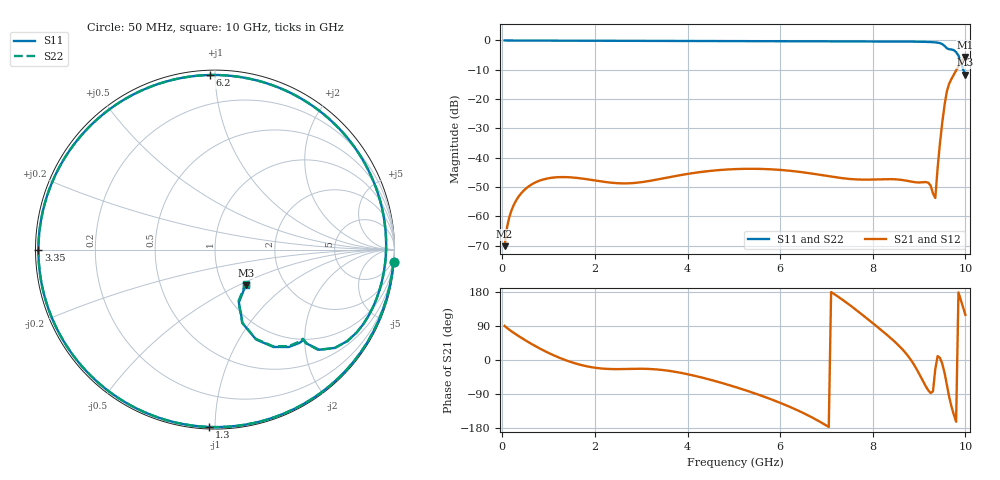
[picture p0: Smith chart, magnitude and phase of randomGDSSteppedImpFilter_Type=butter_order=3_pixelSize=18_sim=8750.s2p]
! freq	dB(S11)	phase(S11)	dB(S12)	phase(S12)
!  dB(S21)	phase(S21)	dB(S22)	phase(S22)
!S-par simulation data
#  GHz  S  DB  R 50
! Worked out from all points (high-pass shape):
!   200 points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, 50 MHz to 10 GHz, reference 50 ohm
!   highest |S21| = -5.65 dB at 10 GHz (marker M1); lowest = -70.2 dB at 50 MHz (marker M2)
!   |S21| within 3 dB of the highest: 9.855 GHz to end of sweep
!   lowest |S11| = -11.7 dB at 10 GHz (marker M3), VSWR 1.71, Z = 64.3 - j27.1 ohm
!   |S11| at or under -10 dB: 9.954969 GHz to end of sweep
!   |S22| runs from -11.9 to 0.0 dB; largest |S21 - S12| = 0
!   S11 on the Smith chart (normalised r, x): 50 MHz: 1, -28; 1.3 GHz: 0.01, -0.97; 3.35 GHz: 0.01, -0.00; 6.2 GHz: 0.03, +0.97; 10 GHz: 1.29, -0.54
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0.05  -0.02 -4.1  -70.20 90.0  -70.20 90.0  -0.02 -4.1
0.15  -0.05 -11.9  -60.39 79.9  -60.39 79.9  -0.05 -11.9
0.4  -0.06 -31.2  -52.31 59.5  -52.31 59.5  -0.06 -31.2
0.85  -0.08 -63.6  -47.61 27.7  -47.61 27.7  -0.08 -63.6
1.3  -0.10 -91.9  -46.62 2.6  -46.62 2.6  -0.10 -91.9
1.75  -0.11 -116.0  -47.19 -14.6  -47.19 -14.6  -0.11 -116.0
2.5  -0.13 -149.0  -48.73 -24.0  -48.73 -24.0  -0.13 -149.0
3.35  -0.14 -179.8  -47.45 -25.1  -47.45 -25.1  -0.14 -179.8
3.4  -0.14 178.6  -47.30 -25.6  -47.30 -25.6  -0.14 178.6
4.2  -0.16 153.0  -45.08 -43.0  -45.08 -43.0  -0.16 153.0
5.05  -0.19 127.1  -43.90 -71.9  -43.90 -71.9  -0.19 127.1
6.2  -0.24 91.6  -44.46 -123.2  -44.46 -123.2  -0.24 91.6
6.7  -0.26 75.7  -45.47 -152.3  -45.47 -152.3  -0.26 75.7
7.5  -0.29 49.2  -47.28 145.3  -47.28 145.3  -0.29 49.2
8.35  -0.35 19.2  -47.33 61.8  -47.33 61.8  -0.35 19.2
9.2  -0.53 -17.1  -48.57 -80.5  -48.57 -80.5  -0.53 -17.2
9.35  -0.67 -26.4  -53.77 -24.3  -53.77 -24.3  -0.68 -26.6
9.45  -0.94 -34.4  -35.18 5.8  -35.18 5.8  -0.96 -34.7
9.6  -2.68 -45.6  -17.41 -65.4  -17.41 -65.4  -2.78 -45.9
9.8  -3.98 -59.1  -10.27 -162.9  -10.27 -162.9  -4.04 -59.0
9.9  -7.15 -69.5  -7.41 159.0  -7.41 159.0  -7.26 -69.6
10  -11.67 -48.8  -5.65 119.3  -5.65 119.3  -11.89 -48.0
